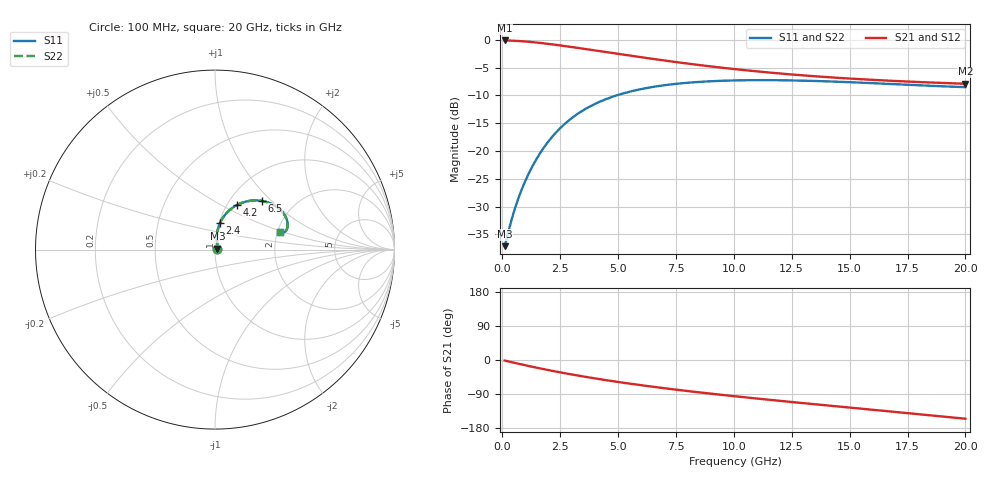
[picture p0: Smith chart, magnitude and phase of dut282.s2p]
! Touchstone file exported from HFSS 2024.1.0
!  File:  C:/UserFiles/LocalFiles/RDL_TSV_Batchsim/temp_RDL_TSV_282_1779464762.aedt
!  Generated:  12:06:01 AM May 23, 2026
!  Design:  RDL_TSV
!  Project:  temp_RDL_TSV_282_1779464762
!  Setup:  Setup1
!  Solution:  Sweep
! Variables:
!  dtsv = 9.54um
!  hbump = 3um
!  htsv = 59.31um
!  ldown = 293.72um
!  lrdl = 336.86um
!  p = 40
!  p1 = 56.29um
!  rhole = 10um
!  subl = 2228.6um
!  t = 450um
!  tdown = 4.76um
!  trdl = 4.8um
!  viad = 10um
!  wdown = 13.37um
!  wrdl = 13.25um
!  xbump = 18um
# GHz S MA R 50.000000
! Terminal data exported
! Port[1] = TM1_1_T1
! Port[2] = TM1_4_T1
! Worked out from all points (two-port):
!   200 points, 100 MHz to 20 GHz, reference 50 ohm
!   highest |S21| = -0.12 dB at 100 MHz (marker M1); lowest = -7.9 dB at 20 GHz (marker M2)
!   |S21| within 3 dB of the highest: start of sweep to 5.969 GHz
!   lowest |S11| = -37.1 dB at 100 MHz (marker M3), VSWR 1.03, Z = 51.3 + j0.532 ohm
!   |S11| at or under -10 dB: start of sweep to 4.935 GHz
!   |S22| runs from -37.1 to -7.3 dB; largest |S21 - S12| = 1e-14
!   S11 on the Smith chart (normalised r, x): 100 MHz: 1.03, +0.01; 2.4 GHz: 1.01, +0.31; 4.2 GHz: 1.11, +0.60; 6.5 GHz: 1.38, +0.88; 20 GHz: 2.07, +0.46
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0.1  0.01394 21.8  0.9868 -1.4  0.9868 -1.4  0.01394 21.8
! Gamma 0 0 0 0
! Port Impedance 50 0 50 0
0.4  0.02406 57.4  0.9828 -5.7  0.9828 -5.7  0.02407 57.4
0.6  0.03294 67.8  0.9784 -8.5  0.9784 -8.5  0.03294 67.8
0.8  0.04297 74.2  0.9726 -11.3  0.9726 -11.3  0.04297 74.2
1.1  0.0601 79.6  0.9618 -15.3  0.9618 -15.3  0.06009 79.6
1.4  0.07944 81.9  0.9489 -19.3  0.9489 -19.3  0.07943 81.9
1.7  0.1005 82.3  0.9342 -23.1  0.9342 -23.1  0.1005 82.3
2  0.1226 81.5  0.9184 -26.8  0.9184 -26.8  0.1226 81.4
2.4  0.1529 79.2  0.896 -31.5  0.896 -31.5  0.1528 79.1
2.9  0.1904 75.3  0.8671 -37.1  0.8671 -37.1  0.1903 75.2
3.5  0.2328 70.0  0.8321 -43.5  0.8321 -43.5  0.2327 69.9
4.2  0.277 63.8  0.7919 -50.5  0.7919 -50.5  0.2768 63.7
5.3  0.3331 54.7  0.7322 -60.6  0.7322 -60.6  0.3328 54.6
6.5  0.3768 46.1  0.6736 -70.6  0.6736 -70.6  0.3764 46.1
6.8  0.3853 44.2  0.6602 -73.0  0.6602 -73.0  0.3849 44.1
8.4  0.417 35.3  0.5968 -84.7  0.5968 -84.7  0.4165 35.2
10.1  0.4317 27.9  0.5433 -96.1  0.5433 -96.1  0.4312 27.9
11.7  0.4336 22.6  0.504 -106.0  0.504 -106.0  0.433 22.6
13.4  0.4271 18.5  0.4717 -116.2  0.4717 -116.2  0.4264 18.4
15  0.4159 15.8  0.4483 -125.6  0.4483 -125.6  0.4152 15.7
16.7  0.4013 14.2  0.4289 -135.5  0.4289 -135.5  0.4006 14.1
20  0.3752 14.9  0.4024 -155.0  0.4024 -155.0  0.3745 14.8
